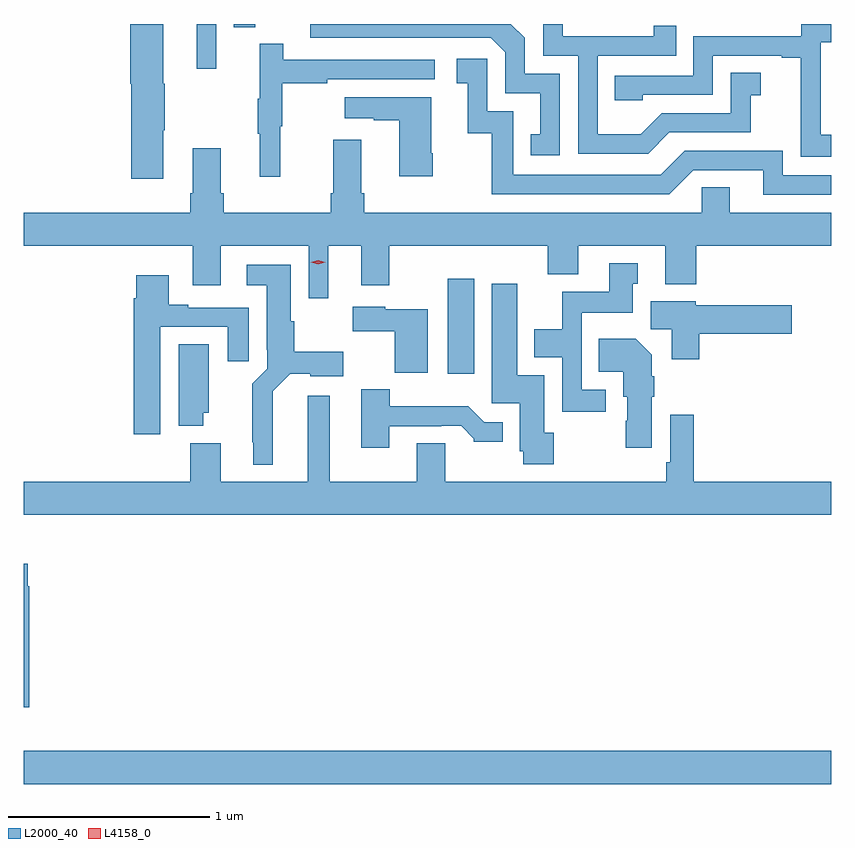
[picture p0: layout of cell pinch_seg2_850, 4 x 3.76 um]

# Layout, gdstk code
import gdstk
lib = gdstk.Library(unit=1e-6, precision=1e-09)
def R(c, l, rs):  # rectangles x0, y0, x1, y1
    for r in rs: c.add(gdstk.rectangle(r[:2], r[2:], *l))
def P(c, l, *ps):  # polygons
    for p in ps: c.add(gdstk.Polygon(p, *l))
L2000_40 = (2000, 40)
L4158_0 = (4158, 0)

pinch_seg2_850 = lib.new_cell('pinch_seg2_850')
R(pinch_seg2_850, L2000_40, [(551.096,595.688,555.096,595.852), (553.196,597.72,553.327,598.189), (551.954,599.229,552.051,599.451), (552.136,599.434,552.244,599.451)])
P(pinch_seg2_850, L2000_40, [(554.293,598.914),(554.697,598.914),(554.697,599.099),(554.746,599.099),(554.746,599.209),(554.598,599.209),(554.598,599.01),(554.256,599.01),(554.152,598.906),(553.938,598.906),(553.938,599.295),(554.327,599.295),(554.327,599.443),(554.216,599.443),(554.216,599.391),(553.765,599.391),(553.765,599.451),(553.668,599.451),(553.668,599.295),(553.842,599.295),(553.842,598.809),(554.188,598.809)],
  [(551.788,598.924),(551.796,598.924),(551.796,599.154),(551.788,599.154),(551.788,599.451),(551.624,599.451),(551.624,599.154),(551.63,599.154),(551.63,598.686),(551.788,598.686)],
  [(555.096,598.903),(555.044,598.903),(555.044,599.132),(555.042,599.132),(555.042,599.361),(555.096,599.361),(555.096,599.451),(554.946,599.451),(554.946,599.391),(554.412,599.391),(554.412,599.196),(554.023,599.196),(554.023,599.073),(554.163,599.073),(554.163,599.1),(554.508,599.1),(554.508,599.295),(554.849,599.295),(554.849,599.283),(554.945,599.283),(554.945,598.999),(554.944,598.999),(554.944,598.793),(555.096,598.793)],
  [(553.752,599.205),(553.578,599.205),(553.578,599.382),(553.509,599.451),(552.516,599.451),(552.516,599.382),(553.41,599.382),(553.482,599.31),(553.482,599.109),(553.655,599.109),(553.655,598.905),(553.606,598.905),(553.606,598.8),(553.752,598.8)],
  [(552.368,598.944),(552.376,598.944),(552.376,599.158),(552.599,599.158),(552.599,599.178),(553.132,599.178),(553.132,599.274),(552.383,599.274),(552.383,599.353),(552.266,599.353),(552.266,599.081),(552.255,599.081),(552.255,598.907),(552.266,598.907),(552.266,598.695),(552.368,598.695)],
  [(555.096,598.701),(554.856,598.701),(554.856,598.824),(554.37,598.824),(554.25,598.704),(553.521,598.704),(553.521,599.019),(553.392,599.019),(553.392,599.278),(553.242,599.278),(553.242,599.157),(553.295,599.157),(553.295,598.911),(553.413,598.911),(553.413,598.608),(554.292,598.608),(554.412,598.728),(554.759,598.728),(554.759,598.605),(555.096,598.605)],
  [(553.122,598.81),(553.114,598.81),(553.114,599.089),(552.687,599.089),(552.687,598.985),(552.83,598.985),(552.83,598.975),(552.956,598.975),(552.956,598.698),(553.122,598.698)],
  [(552.604,598.352),(552.767,598.352),(552.767,598.158),(552.907,598.158),(552.907,598.352),(553.691,598.352),(553.691,598.211),(553.843,598.211),(553.843,598.352),(554.273,598.352),(554.273,598.163),(554.426,598.163),(554.426,598.352),(555.096,598.352),(555.096,598.516),(554.593,598.516),(554.593,598.643),(554.454,598.643),(554.454,598.516),(552.782,598.516),(552.782,598.612),(552.769,598.612),(552.769,598.879),(552.629,598.879),(552.629,598.612),(552.617,598.612),(552.617,598.516),(552.086,598.516),(552.086,598.612),(552.073,598.612),(552.073,598.837),(551.933,598.837),(551.933,598.612),(551.921,598.612),(551.921,598.516),(551.096,598.516),(551.096,598.352),(551.933,598.352),(551.933,598.158),(552.073,598.158),(552.073,598.352),(552.507,598.352),(552.507,598.092),(552.604,598.092)],
  [(553.978,597.639),(553.86,597.639),(553.86,598.022),(554.113,598.022),(554.113,598.164),(554.137,598.164),(554.137,598.267),(553.997,598.267),(553.997,598.126),(553.762,598.126),(553.762,597.94),(553.625,597.94),(553.625,597.8),(553.764,597.8),(553.764,597.531),(553.978,597.531)],
  [(552.331,597.632),(552.417,597.719),(552.516,597.719),(552.516,597.707),(552.679,597.707),(552.679,597.829),(552.436,597.829),(552.436,597.978),(552.418,597.978),(552.418,598.258),(552.201,598.258),(552.201,598.157),(552.299,598.157),(552.299,597.838),(552.303,597.838),(552.303,597.744),(552.229,597.67),(552.229,597.379),(552.233,597.379),(552.233,597.269),(552.331,597.269)],
  [(551.773,597.951),(552.107,597.951),(552.107,597.78),(552.211,597.78),(552.211,598.047),(551.911,598.047),(551.911,598.06),(551.815,598.06),(551.815,598.207),(551.654,598.207),(551.654,598.094),(551.642,598.094),(551.642,597.42),(551.773,597.42)],
  [(553.722,597.426),(553.675,597.426),(553.675,597.712),(553.54,597.712),(553.54,598.165),(553.415,598.165),(553.415,597.573),(553.553,597.573),(553.553,597.336),(553.57,597.336),(553.57,597.27),(553.722,597.27)],
  [(554.441,597.917),(554.899,597.917),(554.899,598.059),(554.424,598.059),(554.424,598.078),(554.201,598.078),(554.201,597.94),(554.306,597.94),(554.306,597.792),(554.441,597.792)],
  [(553.096,598.039),(552.888,598.039),(552.888,598.051),(552.726,598.051),(552.726,597.929),(552.934,597.929),(552.934,597.725),(553.096,597.725)],
  [(554.206,597.606),(554.219,597.606),(554.219,597.707),(554.206,597.707),(554.206,597.814),(554.128,597.892),(553.945,597.892),(553.945,597.728),(554.066,597.728),(554.066,597.606),(554.084,597.606),(554.084,597.486),(554.077,597.486),(554.077,597.354),(554.206,597.354)],
  [(551.986,597.525),(552.013,597.525),(552.013,597.866),(551.864,597.866),(551.864,597.461),(551.986,597.461)],
  [(552.907,597.459),(553.163,597.459),(553.163,597.462),(553.262,597.462),(553.326,597.398),(553.326,597.383),(553.468,597.383),(553.468,597.48),(553.377,597.48),(553.299,597.559),(552.91,597.559),(552.91,597.643),(552.767,597.643),(552.767,597.354),(552.907,597.354)],
  [(555.096,597.184),(554.414,597.184),(554.414,597.517),(554.298,597.517),(554.298,597.28),(554.278,597.28),(554.278,597.184),(553.183,597.184),(553.183,597.374),(553.043,597.374),(553.043,597.184),(552.613,597.184),(552.613,597.61),(552.503,597.61),(552.503,597.184),(552.073,597.184),(552.073,597.376),(551.921,597.376),(551.921,597.184),(551.096,597.184),(551.096,597.02),(555.096,597.02)],
  [(551.123,596.666),(551.116,596.666),(551.116,596.779),(551.096,596.779),(551.096,596.069),(551.123,596.069)])
P(pinch_seg2_850, L4158_0, [(552.554,598.262),(552.519,598.271),(552.519,598.272),(552.519,598.272),(552.554,598.282),(552.59,598.272),(552.59,598.272),(552.59,598.271)])

lib.write_gds('pinch_seg2_850.gds')
